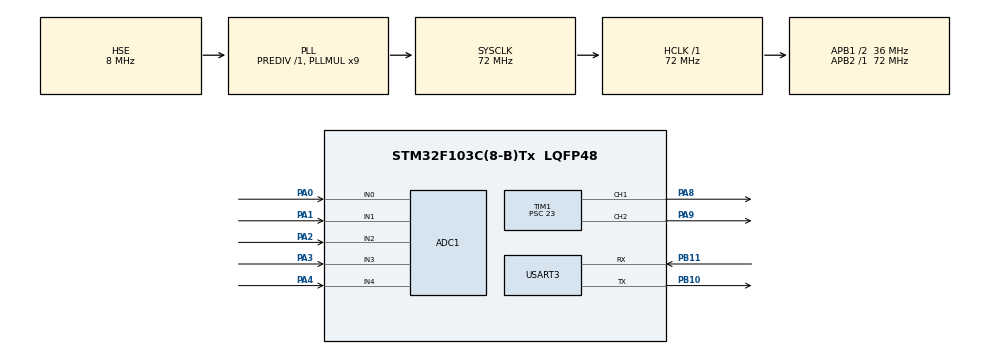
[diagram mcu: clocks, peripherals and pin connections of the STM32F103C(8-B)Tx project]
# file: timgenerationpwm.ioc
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ADC1.Channel-0\#ChannelRegularConversion=ADC_CHANNEL_0
ADC1.Channel-1\#ChannelRegularConversion=ADC_CHANNEL_1
ADC1.Channel-2\#ChannelRegularConversion=ADC_CHANNEL_2
ADC1.Channel-3\#ChannelRegularConversion=ADC_CHANNEL_3
ADC1.Channel-4\#ChannelRegularConversion=ADC_CHANNEL_4
ADC1.ExternalTrigConv=ADC_EXTERNALTRIGCONV_T3_TRGO
ADC1.NbrOfConversion=5
ADC1.NbrOfConversionFlag=1
ADC1.Rank-0\#ChannelRegularConversion=1
ADC1.Rank-1\#ChannelRegularConversion=2
ADC1.Rank-2\#ChannelRegularConversion=3
ADC1.Rank-3\#ChannelRegularConversion=4
ADC1.Rank-4\#ChannelRegularConversion=5
ADC1.SamplingTime-0\#ChannelRegularConversion=ADC_SAMPLETIME_71CYCLES_5
ADC1.SamplingTime-1\#ChannelRegularConversion=ADC_SAMPLETIME_71CYCLES_5
ADC1.SamplingTime-2\#ChannelRegularConversion=ADC_SAMPLETIME_71CYCLES_5
ADC1.SamplingTime-3\#ChannelRegularConversion=ADC_SAMPLETIME_71CYCLES_5
ADC1.SamplingTime-4\#ChannelRegularConversion=ADC_SAMPLETIME_71CYCLES_5
ADC1.master=1
Dma.ADC1.0.Direction=DMA_PERIPH_TO_MEMORY
Dma.ADC1.0.Instance=DMA1_Channel1
Dma.ADC1.0.MemDataAlignment=DMA_MDATAALIGN_HALFWORD
Dma.ADC1.0.MemInc=DMA_MINC_ENABLE
Dma.ADC1.0.Mode=DMA_CIRCULAR
Dma.ADC1.0.PeriphDataAlignment=DMA_PDATAALIGN_HALFWORD
Dma.ADC1.0.PeriphInc=DMA_PINC_DISABLE
Dma.ADC1.0.Priority=DMA_PRIORITY_LOW
Dma.Request0=ADC1
Mcu.Family=STM32F1
Mcu.Name=STM32F103C(8-B)Tx
Mcu.Package=LQFP48
NVIC.ADC1_2_IRQn=true\:0\:0\:false\:false\:true\:true\:true\:true
NVIC.DMA1_Channel1_IRQn=true\:0\:0\:false\:false\:true\:false\:true\:true
NVIC.PriorityGroup=NVIC_PRIORITYGROUP_4
NVIC.USART3_IRQn=true\:0\:0\:false\:false\:true\:true\:true\:true
PA0-WKUP.Signal=ADCx_IN0
PA1.Signal=ADCx_IN1
PA13.Mode=Serial_Wire
PA13.Signal=SYS_JTMS-SWDIO
PA14.Mode=Serial_Wire
PA14.Signal=SYS_JTCK-SWCLK
PA2.Signal=ADCx_IN2
PA3.Signal=ADCx_IN3
PA4.Signal=ADCx_IN4
PA8.Signal=S_TIM1_CH1
PA9.Signal=S_TIM1_CH2
PB10.Mode=Asynchronous
PB10.Signal=USART3_TX
PB11.Mode=Asynchronous
PB11.Signal=USART3_RX
PD0-OSC_IN.Mode=HSE-External-Oscillator
PD0-OSC_IN.Signal=RCC_OSC_IN
PD1-OSC_OUT.Mode=HSE-External-Oscillator
PD1-OSC_OUT.Signal=RCC_OSC_OUT
ProjectManager.HeapSize=0x200
ProjectManager.StackSize=0x400
ProjectManager.TargetToolchain=STM32CubeIDE
RCC.ADCPresc=RCC_ADCPCLK2_DIV6
RCC.AHBFreq_Value=72000000
RCC.APB1CLKDivider=RCC_HCLK_DIV2
RCC.APB1Freq_Value=36000000
RCC.APB1TimFreq_Value=72000000
RCC.APB2Freq_Value=72000000
RCC.APB2TimFreq_Value=72000000
RCC.HCLKFreq_Value=72000000
RCC.PLLMUL=RCC_PLL_MUL9
RCC.PLLSourceVirtual=RCC_PLLSOURCE_HSE
RCC.SYSCLKFreq_VALUE=72000000
RCC.SYSCLKSource=RCC_SYSCLKSOURCE_PLLCLK
RCC.USBFreq_Value=72000000
SH.ADCx_IN0.0=ADC1_IN0,IN0
SH.ADCx_IN1.0=ADC1_IN1,IN1
SH.ADCx_IN2.0=ADC1_IN2,IN2
SH.ADCx_IN3.0=ADC1_IN3,IN3
SH.ADCx_IN4.0=ADC1_IN4,IN4
SH.S_TIM1_CH1.0=TIM1_CH1,PWM Generation1 CH1
SH.S_TIM1_CH2.0=TIM1_CH2,PWM Generation2 CH2
TIM1.Channel-PWM\ Generation1\ CH1=TIM_CHANNEL_1
TIM1.Channel-PWM\ Generation2\ CH2=TIM_CHANNEL_2
TIM1.Period=99
TIM1.Prescaler=23
TIM3.Period=99
TIM3.Prescaler=71
TIM3.TIM_MasterOutputTrigger=TIM_TRGO_UPDATE
TIM3.TIM_MasterSlaveMode=TIM_MASTERSLAVEMODE_DISABLE
USART3.VirtualMode=VM_ASYNC
VP_TIM1_VS_ClockSourceINT.Mode=Internal
VP_TIM3_VS_ClockSourceINT.Mode=Internal
board=custom

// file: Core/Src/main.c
/* USER CODE BEGIN Header */
/**
  ******************************************************************************
  * @file           : main.c
  * @brief          : Main program body
  ******************************************************************************
  * @attention
  *
  * Copyright (c) 2026 STMicroelectronics.
  * All rights reserved.
  *
  * This software is licensed under terms that can be found in the LICENSE file
  * in the root directory of this software component.
  * If no LICENSE file comes with this software, it is provided AS-IS.
  *
  ******************************************************************************
  */
/* USER CODE END Header */
#include "main.h"
#include "stdio.h"
#include "string.h"

ADC_HandleTypeDef hadc1;
DMA_HandleTypeDef hdma_adc1;

TIM_HandleTypeDef htim1;
TIM_HandleTypeDef htim3;

UART_HandleTypeDef huart3;

/* USER CODE BEGIN PV */

uint16_t adc_buffer[5];
char uart_msg[100];
uint8_t source_scheduling_mode = 0;

// Variable to store our automatically calibrated zero-point

//DC TO DC
float v_in = 0.0;
float v_out = 0.0;
float display_amps = 0.0;
int pwm_duty_cycle = 0;

float ac_v_out = 0.0;          // NEW: AC Side Output Voltage
float ac_display_amps = 0.0;   // NEW: AC Side Current
int ac_pwm_duty_cycle = 0;

int battery_is_full = 0;
char mode_str[10] = "";
char ac_mode_str[10] = "";

float zero_amp_voltage = 2.5;
float smoothed_current = 0.0;

float ac_zero_amp_voltage = 2.5;
int mapped_pwm = 0;
int system_calibrated = 0;

uint8_t rx_byte;
char rx_buffer[20];
int rx_index = 0;
uint8_t pi_charging_active = 0;
uint8_t auto_mode = 1; // NEW: The Brains of the Operation

float cv_target_voltage = 14.40;
float ovp_limit = 14.60;
/* USER CODE END PV */

void SystemClock_Config(void);
static void MX_GPIO_Init(void);
static void MX_DMA_Init(void);
static void MX_ADC1_Init(void);
static void MX_TIM1_Init(void);
static void MX_TIM3_Init(void);
static void MX_USART3_UART_Init(void);
/* USER CODE BEGIN PFP */
void Read_And_Filter_Sensors(void);
void Run_Charge_Controller(void);
void Print_System_Status(void);
void Run_AC_DC_Controller(void);
/* USER CODE END PFP */

/* USER CODE BEGIN 0 */
void HAL_UART_RxCpltCallback(UART_HandleTypeDef *huart) {
    if (huart->Instance == USART3) {

        if (rx_byte == 'D') {
            pi_charging_active = 0;
            source_scheduling_mode = 0;
            auto_mode = 0; // Turn off auto mode
            pwm_duty_cycle = 0;
            ac_pwm_duty_cycle = 0;
            __HAL_TIM_SET_COMPARE(&htim1, TIM_CHANNEL_1, 0);
            __HAL_TIM_SET_COMPARE(&htim1, TIM_CHANNEL_2, 0);
            strcpy(mode_str, "DISCONN");
            strcpy(ac_mode_str, "DISCONN");
        }

        if (rx_byte == '\n' || rx_byte == '\r') {
            rx_buffer[rx_index] = '\0';

            if (strstr(rx_buffer, "START") != NULL) {
                pi_charging_active = 1;
            }
            else if (strstr(rx_buffer, "LEAD") != NULL) {
                cv_target_voltage = 14.40;
                ovp_limit = 14.60;
            }
            else if (strstr(rx_buffer, "LION") != NULL) {
                cv_target_voltage = 12.60;
                ovp_limit = 12.80;
            }
            else if (strstr(rx_buffer, "SCHED_ON") != NULL) {
                source_scheduling_mode = 1;
                auto_mode = 0; // Disable auto if forced ON
                pi_charging_active = 1;
            }
            else if (strstr(rx_buffer, "SCHED_AUTO") != NULL) {
                auto_mode = 1; // Enable the Smart Logic
                pi_charging_active = 1;
            }
            else if (strstr(rx_buffer, "SCHED_OFF") != NULL) {
                source_scheduling_mode = 0;
                auto_mode = 0;
            }
            else if (strstr(rx_buffer, "STOP") != NULL || strstr(rx_buffer, "DISCONNECT") != NULL) {
                pi_charging_active = 0;
                source_scheduling_mode = 0;
                auto_mode = 0;
                pwm_duty_cycle = 0;
                ac_pwm_duty_cycle = 0;
                __HAL_TIM_SET_COMPARE(&htim1, TIM_CHANNEL_1, 0);
                __HAL_TIM_SET_COMPARE(&htim1, TIM_CHANNEL_2, 0);
                strcpy(mode_str, "DISCONN");
                strcpy(ac_mode_str, "DISCONN");
            }

            memset(rx_buffer, 0, sizeof(rx_buffer));
            rx_index = 0;
        } else {
            if (rx_index < 19) rx_buffer[rx_index++] = rx_byte;
        }

        HAL_UART_Receive_IT(&huart3, &rx_byte, 1);
    }
}
// ==========================================================
// 3. THE UART AUTO-RECOVERY LISTENER
// If the 100ms sensor delay causes an "Overrun Error", this
// instantly clears the crash so the STM32 doesn't go permanently deaf.
// ==========================================================
void HAL_UART_ErrorCallback(UART_HandleTypeDef *huart) {
    if (huart->Instance == USART3) {
        HAL_UART_AbortReceive_IT(huart);
        HAL_UART_Receive_IT(&huart3, &rx_byte, 1); // Force it to listen again
    }
}
/* USER CODE END 0 */

int main(void)
{

  /* MCU Configuration--------------------------------------------------------*/

  /* Reset of all peripherals, Initializes the Flash interface and the Systick. */
  HAL_Init();

  /* Configure the system clock */
  SystemClock_Config();

  /* Initialize all configured peripherals */
  MX_GPIO_Init();
  MX_DMA_Init();
  MX_ADC1_Init();
  MX_TIM1_Init();
  MX_TIM3_Init();
  MX_USART3_UART_Init();
  /* USER CODE BEGIN 2 */
  // Start listening to the Raspberry Pi on UART3
  HAL_UART_Receive_IT(&huart3, &rx_byte, 1);

    // 1. Start the hardware
    HAL_ADC_Start_DMA(&hadc1, (uint32_t*)adc_buffer, 5); // Waits for TIM3
    HAL_TIM_PWM_Start(&htim1, TIM_CHANNEL_1);            // DC PWM (PA8)
    HAL_TIM_PWM_Start(&htim1, TIM_CHANNEL_2);            // AC PWM (PA9)
    HAL_TIM_Base_Start(&htim3);                          // 10kHz Metronome

    HAL_Delay(500); // Let the sensors stabilize

    // 2. RUN THE CALIBRATION
    char msg1[] = "\r\n--- STARTING 30A DC & AC CALIBRATION ---\r\n";
    HAL_UART_Transmit(&huart3, (uint8_t*)msg1, strlen(msg1), 100);

    uint32_t dc_cal_sum = 0; uint16_t dc_min_raw = 4095; uint16_t dc_max_raw = 0;
    uint32_t ac_cal_sum = 0; uint16_t ac_min_raw = 4095; uint16_t ac_max_raw = 0;

    for (int i = 0; i < 100; i++) {
        uint16_t dc_current_raw = adc_buffer[0];
        dc_cal_sum += dc_current_raw;
        if (dc_current_raw < dc_min_raw) dc_min_raw = dc_current_raw;
        if (dc_current_raw > dc_max_raw) dc_max_raw = dc_current_raw;

        uint16_t ac_current_raw = adc_buffer[3];
        ac_cal_sum += ac_current_raw;
        if (ac_current_raw < ac_min_raw) ac_min_raw = ac_current_raw;
        if (ac_current_raw > ac_max_raw) ac_max_raw = ac_current_raw;

        HAL_Delay(10);
    }

    float dc_cal_avg_raw = (float)dc_cal_sum / 100.0;
    zero_amp_voltage = (dc_cal_avg_raw / 4095.0) * 3.3;

    float ac_cal_avg_raw = (float)ac_cal_sum / 100.0;
    ac_zero_amp_voltage = (ac_cal_avg_raw / 4095.0) * 3.3;

    sprintf(uart_msg, "DC LOCKED ZERO: %.3f V\r\n", zero_amp_voltage);
    HAL_UART_Transmit(&huart3, (uint8_t*)uart_msg, strlen(uart_msg), 100);
    sprintf(uart_msg, "AC LOCKED ZERO: %.3f V\r\n\n", ac_zero_amp_voltage);
    HAL_UART_Transmit(&huart3, (uint8_t*)uart_msg, strlen(uart_msg), 100);

    HAL_Delay(1000);

        // FLIP THE SWITCH: Start ramping the PWM now!
    system_calibrated = 1;
  /* USER CODE END 2 */

  /* Infinite loop */
  /* USER CODE BEGIN WHILE */
    uint32_t last_print_time = 0;
    while (1)
  {
    /* USER CODE END WHILE */
	  if (HAL_GetTick() - last_print_time >= 200) {
	            Print_System_Status();
	            last_print_time = HAL_GetTick();
	        }

  }
  /* USER CODE END 3 */
}

void SystemClock_Config(void)
{
  RCC_OscInitTypeDef RCC_OscInitStruct = {0};
  RCC_ClkInitTypeDef RCC_ClkInitStruct = {0};
  RCC_PeriphCLKInitTypeDef PeriphClkInit = {0};

  /** Initializes the RCC Oscillators according to the specified parameters
  * in the RCC_OscInitTypeDef structure.
  */
  RCC_OscInitStruct.OscillatorType = RCC_OSCILLATORTYPE_HSE;
  RCC_OscInitStruct.HSEState = RCC_HSE_ON;
  RCC_OscInitStruct.HSEPredivValue = RCC_HSE_PREDIV_DIV1;
  RCC_OscInitStruct.HSIState = RCC_HSI_ON;
  RCC_OscInitStruct.PLL.PLLState = RCC_PLL_ON;
  RCC_OscInitStruct.PLL.PLLSource = RCC_PLLSOURCE_HSE;
  RCC_OscInitStruct.PLL.PLLMUL = RCC_PLL_MUL9;
  if (HAL_RCC_OscConfig(&RCC_OscInitStruct) != HAL_OK)
  {
    Error_Handler();
  }

  /** Initializes the CPU, AHB and APB buses clocks
  */
  RCC_ClkInitStruct.ClockType = RCC_CLOCKTYPE_HCLK|RCC_CLOCKTYPE_SYSCLK
                              |RCC_CLOCKTYPE_PCLK1|RCC_CLOCKTYPE_PCLK2;
  RCC_ClkInitStruct.SYSCLKSource = RCC_SYSCLKSOURCE_PLLCLK;
  RCC_ClkInitStruct.AHBCLKDivider = RCC_SYSCLK_DIV1;
  RCC_ClkInitStruct.APB1CLKDivider = RCC_HCLK_DIV2;
  RCC_ClkInitStruct.APB2CLKDivider = RCC_HCLK_DIV1;

  if (HAL_RCC_ClockConfig(&RCC_ClkInitStruct, FLASH_LATENCY_2) != HAL_OK)
  {
    Error_Handler();
  }
  PeriphClkInit.PeriphClockSelection = RCC_PERIPHCLK_ADC;
  PeriphClkInit.AdcClockSelection = RCC_ADCPCLK2_DIV6;
  if (HAL_RCCEx_PeriphCLKConfig(&PeriphClkInit) != HAL_OK)
  {
    Error_Handler();
  }
}

static void MX_ADC1_Init(void)
{

  ADC_ChannelConfTypeDef sConfig = {0};

  /** Common config
  */
  hadc1.Instance = ADC1;
  hadc1.Init.ScanConvMode = ADC_SCAN_ENABLE;
  hadc1.Init.ContinuousConvMode = DISABLE;
  hadc1.Init.DiscontinuousConvMode = DISABLE;
  hadc1.Init.ExternalTrigConv = ADC_EXTERNALTRIGCONV_T3_TRGO;
  hadc1.Init.DataAlign = ADC_DATAALIGN_RIGHT;
  hadc1.Init.NbrOfConversion = 5;
  if (HAL_ADC_Init(&hadc1) != HAL_OK)
  {
    Error_Handler();
  }

  /** Configure Regular Channel
  */
  sConfig.Channel = ADC_CHANNEL_0;
  sConfig.Rank = ADC_REGULAR_RANK_1;
  sConfig.SamplingTime = ADC_SAMPLETIME_71CYCLES_5;
  if (HAL_ADC_ConfigChannel(&hadc1, &sConfig) != HAL_OK)
  {
    Error_Handler();
  }

  /** Configure Regular Channel
  */
  sConfig.Channel = ADC_CHANNEL_1;
  sConfig.Rank = ADC_REGULAR_RANK_2;
  if (HAL_ADC_ConfigChannel(&hadc1, &sConfig) != HAL_OK)
  {
    Error_Handler();
  }

  /** Configure Regular Channel
  */
  sConfig.Channel = ADC_CHANNEL_2;
  sConfig.Rank = ADC_REGULAR_RANK_3;
  if (HAL_ADC_ConfigChannel(&hadc1, &sConfig) != HAL_OK)
  {
    Error_Handler();
  }

  /** Configure Regular Channel
  */
  sConfig.Channel = ADC_CHANNEL_3;
  sConfig.Rank = ADC_REGULAR_RANK_4;
  if (HAL_ADC_ConfigChannel(&hadc1, &sConfig) != HAL_OK)
  {
    Error_Handler();
  }

  /** Configure Regular Channel
  */
  sConfig.Channel = ADC_CHANNEL_4;
  sConfig.Rank = ADC_REGULAR_RANK_5;
  if (HAL_ADC_ConfigChannel(&hadc1, &sConfig) != HAL_OK)
  {
    Error_Handler();
  }

}

static void MX_TIM1_Init(void)
{

  TIM_ClockConfigTypeDef sClockSourceConfig = {0};
  TIM_MasterConfigTypeDef sMasterConfig = {0};
  TIM_OC_InitTypeDef sConfigOC = {0};
  TIM_BreakDeadTimeConfigTypeDef sBreakDeadTimeConfig = {0};

  htim1.Instance = TIM1;
  htim1.Init.Prescaler = 23;
  htim1.Init.CounterMode = TIM_COUNTERMODE_UP;
  htim1.Init.Period = 99;
  htim1.Init.ClockDivision = TIM_CLOCKDIVISION_DIV1;
  htim1.Init.RepetitionCounter = 0;
  htim1.Init.AutoReloadPreload = TIM_AUTORELOAD_PRELOAD_DISABLE;
  if (HAL_TIM_Base_Init(&htim1) != HAL_OK)
  {
    Error_Handler();
  }
  sClockSourceConfig.ClockSource = TIM_CLOCKSOURCE_INTERNAL;
  if (HAL_TIM_ConfigClockSource(&htim1, &sClockSourceConfig) != HAL_OK)
  {
    Error_Handler();
  }
  if (HAL_TIM_PWM_Init(&htim1) != HAL_OK)
  {
    Error_Handler();
  }
  sMasterConfig.MasterOutputTrigger = TIM_TRGO_RESET;
  sMasterConfig.MasterSlaveMode = TIM_MASTERSLAVEMODE_DISABLE;
  if (HAL_TIMEx_MasterConfigSynchronization(&htim1, &sMasterConfig) != HAL_OK)
  {
    Error_Handler();
  }
  sConfigOC.OCMode = TIM_OCMODE_PWM1;
  sConfigOC.Pulse = 0;
  sConfigOC.OCPolarity = TIM_OCPOLARITY_HIGH;
  sConfigOC.OCNPolarity = TIM_OCNPOLARITY_HIGH;
  sConfigOC.OCFastMode = TIM_OCFAST_DISABLE;
  sConfigOC.OCIdleState = TIM_OCIDLESTATE_RESET;
  sConfigOC.OCNIdleState = TIM_OCNIDLESTATE_RESET;
  if (HAL_TIM_PWM_ConfigChannel(&htim1, &sConfigOC, TIM_CHANNEL_1) != HAL_OK)
  {
    Error_Handler();
  }
  if (HAL_TIM_PWM_ConfigChannel(&htim1, &sConfigOC, TIM_CHANNEL_2) != HAL_OK)
  {
    Error_Handler();
  }
  sBreakDeadTimeConfig.OffStateRunMode = TIM_OSSR_DISABLE;
  sBreakDeadTimeConfig.OffStateIDLEMode = TIM_OSSI_DISABLE;
  sBreakDeadTimeConfig.LockLevel = TIM_LOCKLEVEL_OFF;
  sBreakDeadTimeConfig.DeadTime = 0;
  sBreakDeadTimeConfig.BreakState = TIM_BREAK_DISABLE;
  sBreakDeadTimeConfig.BreakPolarity = TIM_BREAKPOLARITY_HIGH;
  sBreakDeadTimeConfig.AutomaticOutput = TIM_AUTOMATICOUTPUT_DISABLE;
  if (HAL_TIMEx_ConfigBreakDeadTime(&htim1, &sBreakDeadTimeConfig) != HAL_OK)
  {
    Error_Handler();
  }
  HAL_TIM_MspPostInit(&htim1);

}

static void MX_TIM3_Init(void)
{

  TIM_ClockConfigTypeDef sClockSourceConfig = {0};
  TIM_MasterConfigTypeDef sMasterConfig = {0};

  htim3.Instance = TIM3;
  htim3.Init.Prescaler = 71;
  htim3.Init.CounterMode = TIM_COUNTERMODE_UP;
  htim3.Init.Period = 999;
  htim3.Init.ClockDivision = TIM_CLOCKDIVISION_DIV1;
  htim3.Init.AutoReloadPreload = TIM_AUTORELOAD_PRELOAD_DISABLE;
  if (HAL_TIM_Base_Init(&htim3) != HAL_OK)
  {
    Error_Handler();
  }
  sClockSourceConfig.ClockSource = TIM_CLOCKSOURCE_INTERNAL;
  if (HAL_TIM_ConfigClockSource(&htim3, &sClockSourceConfig) != HAL_OK)
  {
    Error_Handler();
  }
  sMasterConfig.MasterOutputTrigger = TIM_TRGO_UPDATE;
  sMasterConfig.MasterSlaveMode = TIM_MASTERSLAVEMODE_DISABLE;
  if (HAL_TIMEx_MasterConfigSynchronization(&htim3, &sMasterConfig) != HAL_OK)
  {
    Error_Handler();
  }

}

static void MX_USART3_UART_Init(void)
{

  huart3.Instance = USART3;
  huart3.Init.BaudRate = 115200;
  huart3.Init.WordLength = UART_WORDLENGTH_8B;
  huart3.Init.StopBits = UART_STOPBITS_1;
  huart3.Init.Parity = UART_PARITY_NONE;
  huart3.Init.Mode = UART_MODE_TX_RX;
  huart3.Init.HwFlowCtl = UART_HWCONTROL_NONE;
  huart3.Init.OverSampling = UART_OVERSAMPLING_16;
  if (HAL_UART_Init(&huart3) != HAL_OK)
  {
    Error_Handler();
  }

}

static void MX_DMA_Init(void)
{

  /* DMA controller clock enable */
  __HAL_RCC_DMA1_CLK_ENABLE();

  /* DMA interrupt init */
  /* DMA1_Channel1_IRQn interrupt configuration */
  HAL_NVIC_SetPriority(DMA1_Channel1_IRQn, 0, 0);
  HAL_NVIC_EnableIRQ(DMA1_Channel1_IRQn);

}

static void MX_GPIO_Init(void)
{

  /* GPIO Ports Clock Enable */
  __HAL_RCC_GPIOD_CLK_ENABLE();
  __HAL_RCC_GPIOA_CLK_ENABLE();
  __HAL_RCC_GPIOB_CLK_ENABLE();

}

/* USER CODE BEGIN 4 */
void Read_And_Filter_Sensors(void)
{
    // 1. Grab instantly from the DMA
    float temp_v_in  = ((float)adc_buffer[1] / 4095.0) * 35.79;
    float temp_v_out = ((float)adc_buffer[2] / 4095.0) * 35.78;
    float temp_ac_v  = ((float)adc_buffer[4] / 4095.0) * 35.23;

    // Convert DC Amps
    float dc_calibration = 1.45;
        float raw_amps = (((((float)adc_buffer[0] / 4095.0) * 3.3) - zero_amp_voltage) / 0.066) * dc_calibration;
        float temp_current_amps = raw_amps - 0.12;
        if (temp_current_amps > -0.05 && temp_current_amps < 0.05) temp_current_amps = 0.00;

    // Convert AC Amps
        float ac_calibration = 0.79;

            float ac_raw_amps = ((((float)adc_buffer[3] / 4095.0) * 3.3) - ac_zero_amp_voltage) / 0.100;
            float temp_ac_amps = ((ac_raw_amps * 2.452) - 0.12) * ac_calibration;

            if (temp_ac_amps > -0.05 && temp_ac_amps < 0.05) temp_ac_amps = 0.00;

    // ========================================================
    // THE FIX: Floor the TEMP variables so the math never traps!
    // ========================================================
    if (temp_v_in < 0.3) temp_v_in = 0.00;
    if (temp_v_out < 0.3) temp_v_out = 0.00;
    if (temp_ac_v < 0.3) temp_ac_v = 0.00;

    if (temp_current_amps > -0.05 && temp_current_amps < 0.05) temp_current_amps = 0.00;
    if (temp_ac_amps > -0.05 && temp_ac_amps < 0.05) temp_ac_amps = 0.00;

    // 2. 1% EMA FILTER
    if (v_out == 0.0 && temp_v_out > 0.0) {
        // Instant initialization on boot
        v_in = temp_v_in;
        v_out = temp_v_out;
        ac_v_out = temp_ac_v;
        display_amps = temp_current_amps;
        ac_display_amps = temp_ac_amps;
    } else {
        // Smooth mathematical blending
        v_in = (temp_v_in * 0.01) + (v_in * 0.99);
        v_out = (temp_v_out * 0.01) + (v_out * 0.99);
        ac_v_out = (temp_ac_v * 0.01) + (ac_v_out * 0.99);

        display_amps = (temp_current_amps * 0.002) + (display_amps * 0.998);
        ac_display_amps = (temp_ac_amps * 0.005) + (ac_display_amps * 0.995);    }
}
void Run_Charge_Controller(void)
{
    // --- THE AUTO SMART LOGIC (FIXED HYSTERESIS & NIGHT MODE) ---
    if (auto_mode == 1) {
        if (v_in < 13.0) {
            // NIGHT: Solar is dead. Grid takes 100% load.
            source_scheduling_mode = 0;
        }
        else if (v_in >= 13.0 && v_in < 16.0) {
            // CLOUD: Sun is weak. Turn Hybrid ON (Split 0.5A / 0.5A)
            source_scheduling_mode = 1;
        }
        else if (v_in >= 16.0) {
            // STRONG SUN: Turn Hybrid OFF (Solar takes 100% load)
            source_scheduling_mode = 0;
        }
    }
    // ------------------------------------------------------------

    float max_charge_current = (source_scheduling_mode == 1) ? 0.50 : 1.00;
    float tail_current_limit = 0.60;
    int pwm_step = 1;

    static uint16_t dc_timer = 0;
    static uint16_t cv_full_counter = 0;
    static uint8_t in_cv_mode = 0;

    dc_timer++;

    if (v_out < (cv_target_voltage - 1.0)) {
        battery_is_full = 0;
        in_cv_mode = 0;
    }

    // INSTANT SAFETY OFF: If panel collapses below 8.0V, instantly kill DC PWM.
    if (v_in < 13.0 || battery_is_full || v_out >= ovp_limit || pi_charging_active == 0) {
        pwm_duty_cycle = 0;
        if(battery_is_full) {
            strcpy(mode_str, "FULL");
            source_scheduling_mode = 0;
            auto_mode = 0;
        }
        else strcpy(mode_str, "OFF/WAIT");
        __HAL_TIM_SET_COMPARE(&htim1, TIM_CHANNEL_1, 0);
        return;
    }

    if (dc_timer >= 200) {
        dc_timer = 0;
        if (v_out >= cv_target_voltage) in_cv_mode = 1;

        if (in_cv_mode) {
            if (v_out > (cv_target_voltage + 0.02)) {
                if (pwm_duty_cycle > 0) pwm_duty_cycle -= pwm_step;
                strcpy(mode_str, "CV-DN");
            }
            else if (v_out < (cv_target_voltage - 0.02)) {
                if (display_amps < (max_charge_current + 0.1)) {
                    if (pwm_duty_cycle < 90) pwm_duty_cycle += pwm_step;
                }
                strcpy(mode_str, "CV-UP");
            }
            else { strcpy(mode_str, "CV-HLD"); }

            if (display_amps < tail_current_limit && v_out >= (cv_target_voltage - 0.05)) {
                cv_full_counter++;
                if (cv_full_counter > 30) {
                    battery_is_full = 1;
                    source_scheduling_mode = 0;
                    auto_mode = 0;
                }
            } else { cv_full_counter = 0; }
        }
        else {
            if (display_amps > (max_charge_current + 0.05)) {
                pwm_duty_cycle -= pwm_step;
                strcpy(mode_str, "CC-DN");
            }
            else if (display_amps < (max_charge_current - 0.05)) {
                if (pwm_duty_cycle < 90) pwm_duty_cycle += pwm_step;
                strcpy(mode_str, "CC-UP");
            }
            else { strcpy(mode_str, "CC-HLD"); }
        }
    }

    if (pwm_duty_cycle > 90) pwm_duty_cycle = 90;
    if (pwm_duty_cycle < 0) pwm_duty_cycle = 0;
    __HAL_TIM_SET_COMPARE(&htim1, TIM_CHANNEL_1, pwm_duty_cycle);
}
void Run_AC_DC_Controller(void)
{
    int max_ac_pwm = 18;
    int pwm_step = 1;
    float ac_tail_current = 0.60;

    float ac_cc_max = (source_scheduling_mode == 1) ? 0.60 : 0.60;
    float ac_cc_min = (source_scheduling_mode == 1) ? 0.40 : 0.40;

    static uint16_t ac_timer = 0;
    static uint16_t ac_cv_full_counter = 0;
    ac_timer++;

    if (v_out < 3.0 && ac_v_out < 3.0){
        ac_pwm_duty_cycle = 0;
        strcpy(ac_mode_str, "NO-BATT");
    }
    else if (v_in >=13.0 && source_scheduling_mode == 0) {
        ac_pwm_duty_cycle = 0;
        strcpy(ac_mode_str, "STBY");
    }
    else if (battery_is_full == 1) {
        ac_pwm_duty_cycle = 0;
        strcpy(ac_mode_str, "FULL");
        source_scheduling_mode = 0;
    }
    else if (ac_v_out >= ovp_limit) {
        ac_pwm_duty_cycle = 0;
        strcpy(ac_mode_str, "OVP");
    }
    else if (ac_display_amps > 1.50) {
        ac_pwm_duty_cycle = 0;
        strcpy(ac_mode_str, "AC-TRIP");
    }
    else if (pi_charging_active == 0) {
        ac_pwm_duty_cycle = 0;
        strcpy(ac_mode_str, "WAITING");
    }
    else if (ac_timer >= 200) {
        ac_timer = 0;

        if (ac_v_out >= cv_target_voltage) {
            if (ac_v_out > (cv_target_voltage + 0.02)) {
                if (ac_pwm_duty_cycle > 0) ac_pwm_duty_cycle -= pwm_step;
                strcpy(ac_mode_str, "AC-CV-D");
            } else if (ac_v_out < (cv_target_voltage - 0.02)) {
                if (ac_pwm_duty_cycle < max_ac_pwm) ac_pwm_duty_cycle += pwm_step;
                strcpy(ac_mode_str, "AC-CV-U");
            } else { strcpy(ac_mode_str, "AC-CV-H"); }

            if (ac_display_amps <= ac_tail_current && ac_v_out >= (cv_target_voltage - 0.05)) {
                ac_cv_full_counter++;
                if (ac_cv_full_counter > 20) {
                    battery_is_full = 1;
                    strcpy(ac_mode_str, "FULL");
                    source_scheduling_mode = 0;
                }
            } else { ac_cv_full_counter = 0; }
        }
        else {
            ac_cv_full_counter = 0;
            if (ac_display_amps > ac_cc_max) {
                if (ac_pwm_duty_cycle > 0) ac_pwm_duty_cycle -= pwm_step;
                strcpy(ac_mode_str, "AC-CC");
            }
            else if (ac_display_amps < ac_cc_min) {
                if (ac_pwm_duty_cycle < max_ac_pwm) ac_pwm_duty_cycle += pwm_step;
                strcpy(ac_mode_str, "AC-RMP");
            }
            else { strcpy(ac_mode_str, "AC-HLD"); }
        }
    }

    if (ac_pwm_duty_cycle > max_ac_pwm) ac_pwm_duty_cycle = max_ac_pwm;
    if (ac_pwm_duty_cycle < 0) ac_pwm_duty_cycle = 0;
    __HAL_TIM_SET_COMPARE(&htim1, TIM_CHANNEL_2, ac_pwm_duty_cycle);
}
void Print_System_Status(void)
{
	sprintf(uart_msg, "DC: %-7s | IN: %5.2fV  | OUT: %5.2fV | %5.2fA | PWM: %d%%\r\n",
	                mode_str, v_in, v_out, display_amps, pwm_duty_cycle);
    HAL_UART_Transmit(&huart3, (uint8_t*)uart_msg, strlen(uart_msg), 100);

    sprintf(uart_msg, "AC: %-7s | --: -----V | OUT: %5.2fV | %5.2fA | PWM: %d%%\r\n\n",
            ac_mode_str, ac_v_out, ac_display_amps, ac_pwm_duty_cycle);
    HAL_UART_Transmit(&huart3, (uint8_t*)uart_msg, strlen(uart_msg), 100);

    char pi_msg[120];
    float current_volt = (v_out > ac_v_out) ? v_out : ac_v_out;

    if (current_volt < 3.0) {
        sprintf(pi_msg, "BATT:0\r\n");
        pi_charging_active = 0;
        source_scheduling_mode = 0;
    } else {
        char src_str[10];
        float active_amps = 0.0;

        if (battery_is_full == 1) {
            strcpy(src_str, "FULL");
            active_amps = 0.0;
        } else if (source_scheduling_mode == 1) {
            strcpy(src_str, "HYBRID");
            active_amps = display_amps + ac_display_amps;
        } else if (v_in >= 13.0) { // Changed to 8.0 to match your standby logic
            strcpy(src_str, "PV");
            active_amps = display_amps;
        } else {
            strcpy(src_str, "GRID");
            active_amps = ac_display_amps;
        }

        // Send the individual DC and AC values to split the text on the GUI
        sprintf(pi_msg, "BATT:1,VOLT:%.2f,AMP:%.2f,DC:%.2f,AC:%.2f,SRC:%s\r\n",
                current_volt, active_amps, display_amps, ac_display_amps, src_str);
    }

    HAL_UART_Transmit(&huart3, (uint8_t*)pi_msg, strlen(pi_msg), 100);
    HAL_GPIO_TogglePin(GPIOB, GPIO_PIN_13);
}

void HAL_ADC_ConvCpltCallback(ADC_HandleTypeDef* hadc)
{
	if (hadc->Instance == ADC1) {
	        // 1. ALWAYS read and filter the sensors so the EMA stabilizes
	        Read_And_Filter_Sensors();

	        // 2. ONLY ramp the PWM if calibration is completely done
	        if (system_calibrated == 1) {
	            Run_Charge_Controller();
	            Run_AC_DC_Controller();
	        }
	    }
}
/* USER CODE END 4 */

void Error_Handler(void)
{
  __disable_irq();
  while (1)
  {
  }
}
